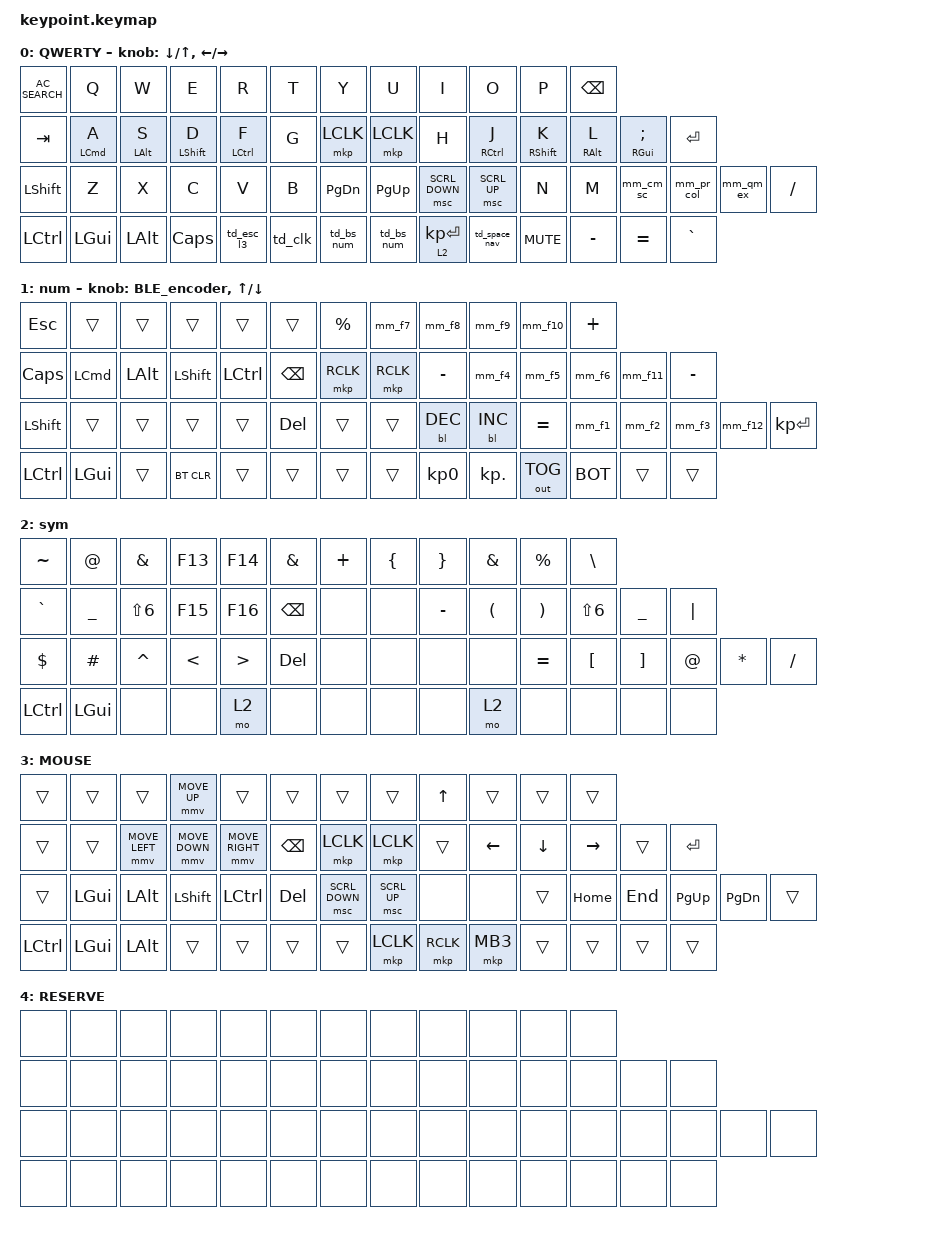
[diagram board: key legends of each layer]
/*
 * Copyright (c) 2025 ZitaoTech
 *
 * SPDX-License-Identifier: MIT
 */

#include <dt-bindings/zmk/mouse.h>
#include <behaviors.dtsi>
#include <dt-bindings/zmk/backlight.h>
#include <dt-bindings/zmk/bt.h>
#include <dt-bindings/zmk/keys.h>
#include <dt-bindings/zmk/outputs.h>
#include <dt-bindings/zmk/pointing.h>

#define NUM 1
#define SYM 2
#define MOUSE_nav 3
#define BOT bootloader
#define KEYS_L 0 1 2 3 4 5 12 13 14 15 16 17 26 27 28 29 30 31 42 43 44 45  // Left-hand keys.
#define KEYS_R 6 7 8 9 10 11 6 7 8 9 10 11 20 21 22 23 24 25 36 37 38 39 40 41 52 53 54 55 // Right-hand keys.
#define THUMBS 46 47 48 49 50 51 18 19 32 33 34 35  // Thumb keys.

/ {
    behaviors {
        td0: tap_dance_0 {
            compatible = "zmk,behavior-tap-dance";
            #binding-cells = <0>;
            tapping-term-ms = <400>;
            bindings = <&mkp LCLK>, <&bt BT_CLR>;
        };
    };

    behaviors {
        hm: homerow_mods {
            compatible = "zmk,behavior-hold-tap";
            #binding-cells = <2>;
            tapping-term-ms = <500>;
            bindings = <&kp &kp>;
        };
    };

    behaviors {
        sp_sc: behavior_spacescroll {
            compatible = "zmk,behavior-hold-tap";
            #binding-cells = <2>;
            flavor = "tap-preferred";     /* 单击优先 */
            tapping-term-ms = <200>;       /* 长按阈值 */
            bindings = <&none &kp>;        /* hold=none, tap=space */
        };
    };

    behaviors {
        BLE_encoder: BLE_encoder {
            compatible = "zmk,behavior-sensor-rotate";
            #sensor-binding-cells = <0>;
            bindings = <&bt BT_NXT>, <&bt BT_PRV>;
        };

        behaviors {
            //以下来自charibdis

            mm_f1: num_or_f1 {
                compatible = "zmk,behavior-mod-morph";
                #binding-cells = <0>;
                bindings = <&kp KP_N1>, <&kp F1>;

                mods = <MOD_LSFT>;
            };

            mm_f2: num_or_f2 {
                compatible = "zmk,behavior-mod-morph";
                #binding-cells = <0>;
                bindings = <&kp KP_N2>, <&kp F2>;

                mods = <MOD_LSFT>;
            };

            mm_f3: num_or_f3 {
                compatible = "zmk,behavior-mod-morph";
                #binding-cells = <0>;
                bindings = <&kp KP_N3>, <&kp F3>;

                mods = <MOD_LSFT>;
            };

            mm_f4: num_or_f4 {
                compatible = "zmk,behavior-mod-morph";
                #binding-cells = <0>;
                bindings = <&kp KP_N4>, <&kp F4>;

                mods = <MOD_LSFT>;
            };

            mm_f5: num_or_f5 {
                compatible = "zmk,behavior-mod-morph";
                #binding-cells = <0>;
                bindings = <&kp KP_N5>, <&kp F5>;

                mods = <MOD_LSFT>;
            };

            mm_f6: num_or_f6 {
                compatible = "zmk,behavior-mod-morph";
                #binding-cells = <0>;
                bindings = <&kp KP_N6>, <&kp F6>;

                mods = <MOD_LSFT>;
            };

            mm_f7: num_or_f7 {
                compatible = "zmk,behavior-mod-morph";
                #binding-cells = <0>;
                bindings = <&kp KP_N7>, <&kp F7>;

                mods = <MOD_LSFT>;
            };

            mm_f8: num_or_f8 {
                compatible = "zmk,behavior-mod-morph";
                #binding-cells = <0>;
                bindings = <&kp KP_N8>, <&kp F8>;

                mods = <MOD_LSFT>;
            };

            mm_f9: num_or_f9 {
                compatible = "zmk,behavior-mod-morph";
                #binding-cells = <0>;
                bindings = <&kp KP_N9>, <&kp F9>;

                mods = <MOD_LSFT>;
            };

            mm_f11: min_or_f11 {
                compatible = "zmk,behavior-mod-morph";
                #binding-cells = <0>;
                bindings = <&kp KP_MULTIPLY>, <&kp F11>;

                mods = <MOD_LSFT>;
            };

            mm_f10: slash_or_f10 {
                compatible = "zmk,behavior-mod-morph";
                #binding-cells = <0>;
                bindings = <&kp KP_SLASH>, <&kp F10>;

                mods = <MOD_LSFT>;
            };

            mm_f12: zero_or_f12 {
                compatible = "zmk,behavior-mod-morph";
                #binding-cells = <0>;
                bindings = <&kp N0>, <&kp F12>;

                mods = <MOD_LSFT>;
            };

            // Left-hand HRM

            ht_left: left_side_homerow_mod {
                compatible = "zmk,behavior-hold-tap";
                #binding-cells = <2>;
                flavor = "balanced";
                tapping-term-ms = <280>;
                quick-tap-ms = <160>;
                require-prior-idle-ms = <65>;
                retro-tap;
                bindings = <&kp>, <&kp>;

                hold-trigger-key-positions = <KEYS_R THUMBS>;
            };

            // Right-hand HRM

            ht_right: right_side_homerow_mod {
                compatible = "zmk,behavior-hold-tap";
                #binding-cells = <2>;
                flavor = "balanced";
                tapping-term-ms = <280>;
                quick-tap-ms = <160>;
                require-prior-idle-ms = <55>;
                retro-tap;
                bindings = <&kp>, <&kp>;

                hold-trigger-key-positions = <KEYS_L THUMBS>;
            };

            td_esc_l3: td_esc_l3 {
                compatible = "zmk,behavior-tap-dance";
                #binding-cells = <0>;
                tapping-term-ms = <150>;
                bindings = <&lt 3 ESC>, <&mo 3>;

                // hold, tap, double_tap
            };

            lt_nav: nav_layer_tap {
                compatible = "zmk,behavior-hold-tap";
                #binding-cells = <2>;
                flavor = "tap-preferred";
                tapping-term-ms = <170>;
                bindings = <&mo>, <&kp>;
            };

            td_space_nav: td_space_nav {
                compatible = "zmk,behavior-tap-dance";
                #binding-cells = <0>;
                tapping-term-ms = <110>;
                bindings = <&lt_nav 3 SPACE>, <&kp SPACE>;

                // hold, tap, double_tap
            };

            mo_clk: mo_click {
                compatible = "zmk,behavior-hold-tap";
                #binding-cells = <2>;
                flavor = "hold-preferred";
                tapping-term-ms = <40>;
                hold-while-undecided;
                bindings = <&mo>, <&mkp>;
            };

            td_clk: td_clk {
                compatible = "zmk,behavior-tap-dance";
                #binding-cells = <0>;
                tapping-term-ms = <170>;
                bindings = <&mo_clk 2 LCLK>, <&mkp LCLK>;

                // hold, tap, double_tap
            };

            mo_kp: mo_kp {
                compatible = "zmk,behavior-hold-tap";
                #binding-cells = <2>;
                flavor = "hold-preferred";
                tapping-term-ms = <40>;
                hold-while-undecided;
                bindings = <&mo>, <&kp>;
            };

            td_bs_num: td_bs_num {
                compatible = "zmk,behavior-tap-dance";
                #binding-cells = <0>;
                tapping-term-ms = <170>;
                bindings = <&mo_kp 1 BACKSPACE>, <&kp BACKSPACE>;

                // hold, tap, double_tap
            };

            httl: ht_two_layers {
                compatible = "zmk,behavior-hold-tap";
                bindings = <&mo>, <&to>;

                #binding-cells = <2>;
                flavor = "balanced";
                tapping-term-ms = <125>;
            };

            td_layers: td_layer_swap {
                compatible = "zmk,behavior-tap-dance";
                #binding-cells = <0>;
                bindings = <&to 0>, <&to 4>;

                // tap, double_tap
            };

            td_clk_scrl: td_click_or_scroll {
                compatible = "zmk,behavior-tap-dance";
                #binding-cells = <0>;
                tapping-term-ms = <250>;
                bindings = <&mkp RCLK>, <&mo 8>;

                // tap/hold, double_tap
            };

            td_bore: BASE_or_EXTRA {
                compatible = "zmk,behavior-tap-dance";
                #binding-cells = <0>;
                bindings = <&mo 5>, <&to 0>;
            };

            mm_qm_ex: question_exclamation {
                compatible = "zmk,behavior-mod-morph";
                #binding-cells = <0>;
                bindings = <&kp QUESTION>, <&kp EXCLAMATION>;

                mods = <(MOD_LSFT | MOD_RSFT)>;
            };

            mm_pr_col: period_colon {
                compatible = "zmk,behavior-mod-morph";
                #binding-cells = <0>;
                bindings = <&kp PERIOD>, <&kp COLON>;

                mods = <(MOD_LSFT | MOD_RSFT)>;
            };

            mm_cm_sc: comma_semi_colon {
                compatible = "zmk,behavior-mod-morph";
                #binding-cells = <0>;
                bindings = <&kp COMMA>, <&kp SEMICOLON>;

                mods = <(MOD_LSFT | MOD_RSFT)>;
            };

            new_behavior: new_behavior {
                compatible = "zmk,behavior-tap-dance";
                #binding-cells = <0>;
                tapping-term-ms = <170>;
                bindings = <&mo_clk 2 LCLK>, <&mkp LCLK>;

                label = "NEW_BEHAVIOR";
            };
        };
    };

    combos {
        compatible = "zmk,combos";

        LCL {
            bindings = <&mkp LCLK>;
            key-positions = <13 14>;
        };

        RCL {
            bindings = <&mkp RCLK>;
            key-positions = <15 16>;
        };

        MCL {
            bindings = <&mkp MCLK>;
            key-positions = <14 15>;
        };
    };

    keymap {
        compatible = "zmk,keymap";

        default_layer {
            display-name = "QWERTY";
            bindings = <
&kp C_AC_SEARCH  &kp Q            &kp W                &kp E             &kp R             &kp T    &kp Y       &kp U       &kp I           &kp O              &kp P              &kp BSPC
&kp TAB          &ht_left LCMD A  &ht_left LEFT_ALT S  &ht_left LSHFT D  &ht_left LCTRL F  &kp G    &mkp LCLK   &mkp LCLK   &kp H           &ht_right RCTRL J  &ht_right RSHFT K  &ht_right RALT L  &ht_right RGUI SEMI  &kp ENTER
&kp LSHFT        &kp Z            &kp X                &kp C             &kp V             &kp B    &kp PG_DN   &kp PG_UP   &msc SCRL_DOWN  &msc SCRL_UP       &kp N              &kp M             &mm_cm_sc            &mm_pr_col  &mm_qm_ex  &kp FSLH
&kp LCTRL        &kp LGUI         &kp LALT             &kp CAPSLOCK      &td_esc_l3        &td_clk  &td_bs_num  &td_bs_num  &lt 2 KP_ENTER  &td_space_nav      &kp C_MUTE         &kp MINUS         &kp EQUAL            &kp GRAVE
            >;

            sensor-bindings =
                <&inc_dec_kp DOWN_ARROW UP_ARROW>,
                <&inc_dec_kp LEFT RIGHT>;
        };

        NUM {
            display-name = "num";
            bindings = <
&kp ESC    &trans    &trans    &trans      &trans     &trans         &kp PERCENT  &mm_f7     &mm_f8      &mm_f9      &mm_f10       &kp PLUS
&kp CAPS   &kp LCMD  &kp LALT  &kp LSHFT   &kp LCTRL  &kp BACKSPACE  &mkp RCLK    &mkp RCLK  &kp MINUS   &mm_f4      &mm_f5        &mm_f6    &mm_f11  &kp MINUS
&kp LSHFT  &trans    &trans    &trans      &trans     &kp DEL        &trans       &trans     &bl BL_DEC  &bl BL_INC  &kp EQUAL     &mm_f1    &mm_f2   &mm_f3     &mm_f12  &kp KP_ENTER
&kp LCTRL  &kp LGUI  &trans    &bt BT_CLR  &trans     &trans         &trans       &trans     &kp KP_N0   &kp KP_DOT  &out OUT_TOG  &BOT      &trans   &trans
            >;

            sensor-bindings = <&BLE_encoder &inc_dec_kp UP DOWN>;
        };

        SYM {
            display-name = "sym";
            bindings = <
&kp TILDE  &kp AT     &kp AMPS    &kp F13  &kp F14  &kp AMPS  &kp PLUS  &kp LEFT_BRACE  &kp RIGHT_BRACE  &kp AMPS  &kp PRCNT  &kp BSLH
&kp GRAVE  &kp UNDER  &kp LS(N6)  &kp F15  &kp F16  &kp BSPC  &none     &none           &kp MINUS        &kp LPAR  &kp RPAR   &kp LS(N6)        &kp UNDER          &kp PIPE
&kp DLLR   &kp HASH   &kp CARET   &kp LT   &kp GT   &kp DEL   &none     &none           &none            &none     &kp EQUAL  &kp LEFT_BRACKET  &kp RIGHT_BRACKET  &kp AT    &kp STAR  &kp FSLH
&kp LCTRL  &kp LGUI   &none       &none    &mo 2    &none     &none     &none           &none            &mo 2     &none      &none             &none              &none
            >;
        };

        MOUSE_nav {
            display-name = "MOUSE";
            bindings = <
&trans     &trans    &trans          &mmv MOVE_UP    &trans           &trans         &trans          &trans        &kp UP     &trans          &trans    &trans
&trans     &trans    &mmv MOVE_LEFT  &mmv MOVE_DOWN  &mmv MOVE_RIGHT  &kp BACKSPACE  &mkp LCLK       &mkp LCLK     &trans     &kp LEFT_ARROW  &kp DOWN  &kp RIGHT_ARROW  &trans   &kp ENTER
&trans     &kp LGUI  &kp LALT        &kp LSHFT       &kp LCTRL        &kp DEL        &msc SCRL_DOWN  &msc SCRL_UP  &none      &none           &trans    &kp HOME         &kp END  &kp PG_UP  &kp PG_DN  &trans
&kp LCTRL  &kp LGUI  &kp LALT        &trans          &trans           &trans         &trans          &mkp LCLK     &mkp RCLK  &mkp MB3        &trans    &trans           &trans   &trans
            >;
        };

        RES_layer {
            display-name = "RESERVE";
            bindings = <
&none  &none  &none  &none  &none  &none  &none  &none  &none  &none  &none  &none
&none  &none  &none  &none  &none  &none  &none  &none  &none  &none  &none  &none  &none  &none
&none  &none  &none  &none  &none  &none  &none  &none  &none  &none  &none  &none  &none  &none  &none  &none
&none  &none  &none  &none  &none  &none  &none  &none  &none  &none  &none  &none  &none  &none
            >;
        };
    };
};
